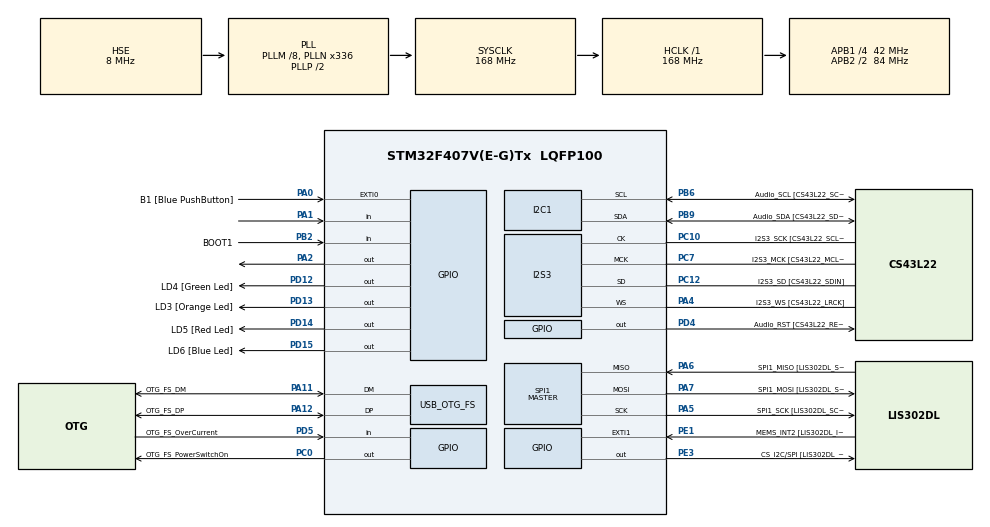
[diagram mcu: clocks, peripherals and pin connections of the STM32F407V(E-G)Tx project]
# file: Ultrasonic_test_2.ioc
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I2S3.AudioFreq-Half_Duplex_Master=I2S_AUDIOFREQ_96K
I2S3.ErrorAudioFreq=-2.34 %
I2S3.ErrorAudioFreq-Half_Duplex_Master=0.8 %
I2S3.FullDuplexMode=I2S_FULLDUPLEXMODE_DISABLE
I2S3.Instance=SPI$Index
I2S3.RealAudioFreq=93.75 KHz
I2S3.RealAudioFreq-Half_Duplex_Master=96.774 KHz
I2S3.VirtualMode=I2S_MODE_MASTER
Mcu.Family=STM32F4
Mcu.Name=STM32F407V(E-G)Tx
Mcu.Package=LQFP100
NVIC.OTG_FS_IRQn=true\:0\:0\:false\:false\:true\:true\:true\:true
NVIC.PriorityGroup=NVIC_PRIORITYGROUP_0
PA0-WKUP.GPIO_Label=B1 [Blue PushButton]
PA0-WKUP.GPIO_ModeDefaultEXTI=GPIO_MODE_EVT_RISING
PA0-WKUP.GPIO_PuPd=GPIO_NOPULL
PA0-WKUP.Signal=GPXTI0
PA1.Signal=GPIO_Input
PA10.GPIO_Label=OTG_FS_ID
PA10.GPIO_Mode=GPIO_MODE_AF_PP
PA10.GPIO_PuPd=GPIO_NOPULL
PA10.GPIO_Speed=GPIO_SPEED_FREQ_LOW
PA10.Signal=USB_OTG_FS_ID
PA11.GPIO_Label=OTG_FS_DM
PA11.GPIO_Mode=GPIO_MODE_AF_PP
PA11.GPIO_PuPd=GPIO_NOPULL
PA11.GPIO_Speed=GPIO_SPEED_FREQ_LOW
PA11.Mode=Device_Only
PA11.Signal=USB_OTG_FS_DM
PA12.GPIO_Label=OTG_FS_DP
PA12.GPIO_Mode=GPIO_MODE_AF_PP
PA12.GPIO_PuPd=GPIO_NOPULL
PA12.GPIO_Speed=GPIO_SPEED_FREQ_LOW
PA12.Mode=Device_Only
PA12.Signal=USB_OTG_FS_DP
PA13.GPIO_Label=SWDIO
PA13.Mode=Serial_Wire
PA13.Signal=SYS_JTMS-SWDIO
PA14.GPIO_Label=SWCLK
PA14.Mode=Serial_Wire
PA14.Signal=SYS_JTCK-SWCLK
PA2.Signal=GPIO_Output
PA4.GPIO_Label=I2S3_WS [CS43L22_LRCK]
PA4.GPIO_Mode=GPIO_MODE_AF_PP
PA4.GPIO_PuPd=GPIO_NOPULL
PA4.GPIO_Speed=GPIO_SPEED_FREQ_LOW
PA4.Mode=Half_Duplex_Master
PA4.Signal=I2S3_WS
PA5.GPIO_Label=SPI1_SCK [LIS302DL_SCL/SPC]
PA5.GPIO_Mode=GPIO_MODE_AF_PP
PA5.GPIO_PuPd=GPIO_NOPULL
PA5.GPIO_Speed=GPIO_SPEED_FREQ_LOW
PA5.Mode=Full_Duplex_Master
PA5.Signal=SPI1_SCK
PA6.GPIO_Label=SPI1_MISO [LIS302DL_SDO]
PA6.GPIO_Mode=GPIO_MODE_AF_PP
PA6.GPIO_PuPd=GPIO_NOPULL
PA6.GPIO_Speed=GPIO_SPEED_FREQ_LOW
PA6.Mode=Full_Duplex_Master
PA6.Signal=SPI1_MISO
PA7.GPIO_Label=SPI1_MOSI [LIS302DL_SDA/SDI/SDO]
PA7.GPIO_Mode=GPIO_MODE_AF_PP
PA7.GPIO_PuPd=GPIO_NOPULL
PA7.GPIO_Speed=GPIO_SPEED_FREQ_LOW
PA7.Mode=Full_Duplex_Master
PA7.Signal=SPI1_MOSI
PA9.GPIO_Label=VBUS_FS
PA9.GPIO_Mode=GPIO_MODE_INPUT
PA9.GPIO_PuPd=GPIO_NOPULL
PA9.Signal=USB_OTG_FS_VBUS
PB10.GPIO_Label=CLK_IN [MP45DT02_CLK]
PB10.GPIO_Mode=GPIO_MODE_AF_PP
PB10.GPIO_PuPd=GPIO_NOPULL
PB10.GPIO_Speed=GPIO_SPEED_FREQ_LOW
PB10.Signal=I2S2_CK
PB2.GPIO_Label=BOOT1
PB2.GPIO_Mode=GPIO_MODE_INPUT
PB2.GPIO_PuPd=GPIO_NOPULL
PB2.Signal=GPIO_Input
PB3.GPIO_Label=SWO
PB3.Signal=SYS_JTDO-SWO
PB6.GPIO_Label=Audio_SCL [CS43L22_SCL]
PB6.GPIO_Mode=GPIO_MODE_AF_OD
PB6.GPIO_Pu=GPIO_PULLUP
PB6.GPIO_PuPd=GPIO_NOPULL
PB6.GPIO_Speed=GPIO_SPEED_FREQ_LOW
PB6.Mode=I2C
PB6.Signal=I2C1_SCL
PB9.GPIO_Label=Audio_SDA [CS43L22_SDA]
PB9.GPIO_Mode=GPIO_MODE_AF_OD
PB9.GPIO_Pu=GPIO_PULLUP
PB9.GPIO_PuPd=GPIO_NOPULL
PB9.GPIO_Speed=GPIO_SPEED_FREQ_LOW
PB9.Mode=I2C
PB9.Signal=I2C1_SDA
PC0.GPIO_Label=OTG_FS_PowerSwitchOn
PC0.GPIO_PuPd=GPIO_NOPULL
PC0.GPIO_Speed=GPIO_SPEED_FREQ_LOW
PC0.PinState=GPIO_PIN_SET
PC0.Signal=GPIO_Output
PC10.GPIO_Label=I2S3_SCK [CS43L22_SCLK]
PC10.GPIO_Mode=GPIO_MODE_AF_PP
PC10.GPIO_PuPd=GPIO_NOPULL
PC10.GPIO_Speed=GPIO_SPEED_FREQ_LOW
PC10.Mode=Half_Duplex_Master
PC10.Signal=I2S3_CK
PC12.GPIO_Label=I2S3_SD [CS43L22_SDIN]
PC12.GPIO_Mode=GPIO_MODE_AF_PP
PC12.GPIO_PuPd=GPIO_NOPULL
PC12.GPIO_Speed=GPIO_SPEED_FREQ_LOW
PC12.Mode=Half_Duplex_Master
PC12.Signal=I2S3_SD
PC14-OSC32_IN.GPIO_Label=PC14-OSC32_IN
PC14-OSC32_IN.Signal=RCC_OSC32_IN
PC15-OSC32_OUT.GPIO_Label=PC15-OSC32_OUT
PC15-OSC32_OUT.Signal=RCC_OSC32_OUT
PC3.GPIO_Label=PDM_OUT [MP45DT02_DOUT]
PC3.GPIO_Mode=GPIO_MODE_AF_PP
PC3.GPIO_PuPd=GPIO_NOPULL
PC3.GPIO_Speed=GPIO_SPEED_FREQ_LOW
PC3.Signal=I2S2_SD
PC7.GPIO_Label=I2S3_MCK [CS43L22_MCLK]
PC7.GPIO_Mode=GPIO_MODE_AF_PP
PC7.GPIO_PuPd=GPIO_NOPULL
PC7.GPIO_Speed=GPIO_SPEED_FREQ_LOW
PC7.Mode=Master_Clock_Activated
PC7.Signal=I2S3_MCK
PD12.GPIO_Label=LD4 [Green Led]
PD12.GPIO_PuPd=GPIO_NOPULL
PD12.GPIO_Speed=GPIO_SPEED_FREQ_LOW
PD12.Signal=GPIO_Output
PD13.GPIO_Label=LD3 [Orange Led]
PD13.GPIO_PuPd=GPIO_NOPULL
PD13.GPIO_Speed=GPIO_SPEED_FREQ_LOW
PD13.Signal=GPIO_Output
PD14.GPIO_Label=LD5 [Red Led]
PD14.GPIO_PuPd=GPIO_NOPULL
PD14.GPIO_Speed=GPIO_SPEED_FREQ_LOW
PD14.Signal=GPIO_Output
PD15.GPIO_Label=LD6 [Blue Led]
PD15.GPIO_PuPd=GPIO_NOPULL
PD15.GPIO_Speed=GPIO_SPEED_FREQ_LOW
PD15.Signal=GPIO_Output
PD4.GPIO_Label=Audio_RST [CS43L22_RESET]
PD4.GPIO_PuPd=GPIO_NOPULL
PD4.GPIO_Speed=GPIO_SPEED_FREQ_LOW
PD4.Signal=GPIO_Output
PD5.GPIO_Label=OTG_FS_OverCurrent
PD5.GPIO_Mode=GPIO_MODE_INPUT
PD5.GPIO_PuPd=GPIO_NOPULL
PD5.Signal=GPIO_Input
PE1.GPIO_Label=MEMS_INT2 [LIS302DL_INT2]
PE1.GPIO_ModeDefaultEXTI=GPIO_MODE_EVT_RISING
PE1.GPIO_PuPd=GPIO_NOPULL
PE1.Signal=GPXTI1
PE3.GPIO_Label=CS_I2C/SPI [LIS302DL_CS_I2C/SPI]
PE3.GPIO_PuPd=GPIO_NOPULL
PE3.GPIO_Speed=GPIO_SPEED_FREQ_LOW
PE3.Signal=GPIO_Output
PH0-OSC_IN.GPIO_Label=PH0-OSC_IN
PH0-OSC_IN.Mode=HSE-External-Oscillator
PH0-OSC_IN.Signal=RCC_OSC_IN
PH1-OSC_OUT.GPIO_Label=PH1-OSC_OUT
PH1-OSC_OUT.Mode=HSE-External-Oscillator
PH1-OSC_OUT.Signal=RCC_OSC_OUT
ProjectManager.HeapSize=0x600
ProjectManager.StackSize=0x400
ProjectManager.TargetToolchain=STM32CubeIDE
RCC.48MHZClocksFreq_Value=48000000
RCC.AHBFreq_Value=168000000
RCC.APB1CLKDivider=RCC_HCLK_DIV4
RCC.APB1Freq_Value=42000000
RCC.APB1TimFreq_Value=84000000
RCC.APB2CLKDivider=RCC_HCLK_DIV2
RCC.APB2Freq_Value=84000000
RCC.APB2TimFreq_Value=168000000
RCC.CortexFreq_Value=168000000
RCC.HCLKFreq_Value=168000000
RCC.HSE_VALUE=8000000
RCC.HSI_VALUE=16000000
RCC.LSE_VALUE=32768
RCC.PLLM=8
RCC.PLLN=336
RCC.PLLQ=7
RCC.SYSCLKFreq_VALUE=168000000
RCC.SYSCLKSource=RCC_SYSCLKSOURCE_PLLCLK
RCC.VCOOutputFreq_Value=336000000
SPI1.BaudRatePrescaler-Full_Duplex_Master=SPI_BAUDRATEPRESCALER_2
SPI1.CalculateBaudRate-Full_Duplex_Master=42.0 MBits/s
SPI1.Direction=SPI_DIRECTION_2LINES
SPI1.Mode=SPI_MODE_MASTER
SPI1.Mode-Full_Duplex_Master=SPI_MODE_MASTER
SPI1.VirtualType=VM_MASTER
TIM1.Prescaler=167
USB_DEVICE.CLASS_NAME_FS=CDC
USB_DEVICE.VirtualMode-CDC_FS=Cdc
USB_DEVICE.VirtualModeFS=Cdc_FS
USB_OTG_FS.VirtualMode=Device_Only
VP_TIM1_VS_ClockSourceINT.Mode=Internal
VP_USB_DEVICE_VS_USB_DEVICE_CDC_FS.Mode=CDC_FS
board=STM32F407G-DISC1

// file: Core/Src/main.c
/* USER CODE BEGIN Header */
/**
  ******************************************************************************
  * @file           : main.c
  * @brief          : Main program body
  ******************************************************************************
  * @attention
  *
  * Copyright (c) 2025 STMicroelectronics.
  * All rights reserved.
  *
  * This software is licensed under terms that can be found in the LICENSE file
  * in the root directory of this software component.
  * If no LICENSE file comes with this software, it is provided AS-IS.
  *
  ******************************************************************************
  */
/* USER CODE END Header */
#include "main.h"
#include "usb_device.h"

/* USER CODE BEGIN Includes */
#include "usbd_cdc_if.h"
#include <stdio.h>
#include <stdint.h>
#include <string.h>
/* USER CODE END Includes */

I2C_HandleTypeDef hi2c1;

I2S_HandleTypeDef hi2s3;

SPI_HandleTypeDef hspi1;

TIM_HandleTypeDef htim1;

/* USER CODE BEGIN PV */
#define TRIG_PIN GPIO_PIN_2
#define TRIG_PORT GPIOA
#define ECHO_PIN GPIO_PIN_1
#define ECHO_PORT GPIOA
uint32_t pMillis;
uint32_t Value1 = 0;
uint32_t Value2 = 0;
uint16_t Distance  = 0;  // cm
/* USER CODE END PV */

void SystemClock_Config(void);
static void MX_GPIO_Init(void);
static void MX_I2C1_Init(void);
static void MX_I2S3_Init(void);
static void MX_SPI1_Init(void);
static void MX_TIM1_Init(void);

int main(void)
{

  /* MCU Configuration--------------------------------------------------------*/

  /* Reset of all peripherals, Initializes the Flash interface and the Systick. */
  HAL_Init();

  /* Configure the system clock */
  SystemClock_Config();

  /* Initialize all configured peripherals */
  MX_GPIO_Init();
  MX_I2C1_Init();
  MX_I2S3_Init();
  MX_SPI1_Init();
  MX_TIM1_Init();
  MX_USB_DEVICE_Init();
  /* USER CODE BEGIN 2 */
  uint32_t i = 0;
  uint8_t str[52];
  HAL_TIM_Base_Start(&htim1);
  HAL_GPIO_WritePin(TRIG_PORT, TRIG_PIN, GPIO_PIN_RESET);  // pull the TRIG pin low
  /* USER CODE END 2 */

  /* Infinite loop */
  /* USER CODE BEGIN WHILE */
  while (1)
   {
     HAL_GPIO_WritePin(TRIG_PORT, TRIG_PIN, GPIO_PIN_SET);  // pull the TRIG pin HIGH
     __HAL_TIM_SET_COUNTER(&htim1, 0);
     while (__HAL_TIM_GET_COUNTER (&htim1) < 40);  // wait for 40 us
     HAL_GPIO_WritePin(TRIG_PORT, TRIG_PIN, GPIO_PIN_RESET);  // pull the TRIG pin low

     pMillis = HAL_GetTick(); // used this to avoid infinite while loop  (for timeout)
     // wait for the echo pin to go high
     while (!(HAL_GPIO_ReadPin (ECHO_PORT, ECHO_PIN)) && pMillis + 100 >  HAL_GetTick());
     Value1 = __HAL_TIM_GET_COUNTER (&htim1);

     pMillis = HAL_GetTick(); // used this to avoid infinite while loop (for timeout)
     // wait for the echo pin to go low
     while ((HAL_GPIO_ReadPin (ECHO_PORT, ECHO_PIN)) && pMillis + 500 > HAL_GetTick());
     Value2 = __HAL_TIM_GET_COUNTER (&htim1);

     Distance = (Value2-Value1) * 0.034/2;

     if(Distance <= 5){
    	 HAL_GPIO_WritePin(GPIOD, GPIO_PIN_12, GPIO_PIN_SET);
     }
     else{
    	 HAL_GPIO_WritePin(GPIOD, GPIO_PIN_12, GPIO_PIN_RESET);
     }

     //if(i % 2 == 0)
    	 sprintf(str, "Distance1: %d\r\n", Value2 - Value1);
     //else
	//	 sprintf(str, "Distance2: %lu\r\n", Value2);

     CDC_Transmit_FS(str, strlen(str));

     i++;

     HAL_Delay(500);
    /* USER CODE END WHILE */

  }
}

void SystemClock_Config(void)
{
  RCC_OscInitTypeDef RCC_OscInitStruct = {0};
  RCC_ClkInitTypeDef RCC_ClkInitStruct = {0};

  /** Configure the main internal regulator output voltage
  */
  __HAL_RCC_PWR_CLK_ENABLE();
  __HAL_PWR_VOLTAGESCALING_CONFIG(PWR_REGULATOR_VOLTAGE_SCALE1);

  /** Initializes the RCC Oscillators according to the specified parameters
  * in the RCC_OscInitTypeDef structure.
  */
  RCC_OscInitStruct.OscillatorType = RCC_OSCILLATORTYPE_HSE;
  RCC_OscInitStruct.HSEState = RCC_HSE_ON;
  RCC_OscInitStruct.PLL.PLLState = RCC_PLL_ON;
  RCC_OscInitStruct.PLL.PLLSource = RCC_PLLSOURCE_HSE;
  RCC_OscInitStruct.PLL.PLLM = 8;
  RCC_OscInitStruct.PLL.PLLN = 336;
  RCC_OscInitStruct.PLL.PLLP = RCC_PLLP_DIV2;
  RCC_OscInitStruct.PLL.PLLQ = 7;
  if (HAL_RCC_OscConfig(&RCC_OscInitStruct) != HAL_OK)
  {
    Error_Handler();
  }

  /** Initializes the CPU, AHB and APB buses clocks
  */
  RCC_ClkInitStruct.ClockType = RCC_CLOCKTYPE_HCLK|RCC_CLOCKTYPE_SYSCLK
                              |RCC_CLOCKTYPE_PCLK1|RCC_CLOCKTYPE_PCLK2;
  RCC_ClkInitStruct.SYSCLKSource = RCC_SYSCLKSOURCE_PLLCLK;
  RCC_ClkInitStruct.AHBCLKDivider = RCC_SYSCLK_DIV1;
  RCC_ClkInitStruct.APB1CLKDivider = RCC_HCLK_DIV4;
  RCC_ClkInitStruct.APB2CLKDivider = RCC_HCLK_DIV2;

  if (HAL_RCC_ClockConfig(&RCC_ClkInitStruct, FLASH_LATENCY_5) != HAL_OK)
  {
    Error_Handler();
  }
}

static void MX_I2C1_Init(void)
{

  hi2c1.Instance = I2C1;
  hi2c1.Init.ClockSpeed = 100000;
  hi2c1.Init.DutyCycle = I2C_DUTYCYCLE_2;
  hi2c1.Init.OwnAddress1 = 0;
  hi2c1.Init.AddressingMode = I2C_ADDRESSINGMODE_7BIT;
  hi2c1.Init.DualAddressMode = I2C_DUALADDRESS_DISABLE;
  hi2c1.Init.OwnAddress2 = 0;
  hi2c1.Init.GeneralCallMode = I2C_GENERALCALL_DISABLE;
  hi2c1.Init.NoStretchMode = I2C_NOSTRETCH_DISABLE;
  if (HAL_I2C_Init(&hi2c1) != HAL_OK)
  {
    Error_Handler();
  }

}

static void MX_I2S3_Init(void)
{

  hi2s3.Instance = SPI3;
  hi2s3.Init.Mode = I2S_MODE_MASTER_TX;
  hi2s3.Init.Standard = I2S_STANDARD_PHILIPS;
  hi2s3.Init.DataFormat = I2S_DATAFORMAT_16B;
  hi2s3.Init.MCLKOutput = I2S_MCLKOUTPUT_ENABLE;
  hi2s3.Init.AudioFreq = I2S_AUDIOFREQ_96K;
  hi2s3.Init.CPOL = I2S_CPOL_LOW;
  hi2s3.Init.ClockSource = I2S_CLOCK_PLL;
  hi2s3.Init.FullDuplexMode = I2S_FULLDUPLEXMODE_DISABLE;
  if (HAL_I2S_Init(&hi2s3) != HAL_OK)
  {
    Error_Handler();
  }

}

static void MX_SPI1_Init(void)
{

  /* SPI1 parameter configuration*/
  hspi1.Instance = SPI1;
  hspi1.Init.Mode = SPI_MODE_MASTER;
  hspi1.Init.Direction = SPI_DIRECTION_2LINES;
  hspi1.Init.DataSize = SPI_DATASIZE_8BIT;
  hspi1.Init.CLKPolarity = SPI_POLARITY_LOW;
  hspi1.Init.CLKPhase = SPI_PHASE_1EDGE;
  hspi1.Init.NSS = SPI_NSS_SOFT;
  hspi1.Init.BaudRatePrescaler = SPI_BAUDRATEPRESCALER_2;
  hspi1.Init.FirstBit = SPI_FIRSTBIT_MSB;
  hspi1.Init.TIMode = SPI_TIMODE_DISABLE;
  hspi1.Init.CRCCalculation = SPI_CRCCALCULATION_DISABLE;
  hspi1.Init.CRCPolynomial = 10;
  if (HAL_SPI_Init(&hspi1) != HAL_OK)
  {
    Error_Handler();
  }

}

static void MX_TIM1_Init(void)
{

  TIM_ClockConfigTypeDef sClockSourceConfig = {0};
  TIM_MasterConfigTypeDef sMasterConfig = {0};

  htim1.Instance = TIM1;
  htim1.Init.Prescaler = 167;
  htim1.Init.CounterMode = TIM_COUNTERMODE_UP;
  htim1.Init.Period = 65535;
  htim1.Init.ClockDivision = TIM_CLOCKDIVISION_DIV1;
  htim1.Init.RepetitionCounter = 0;
  htim1.Init.AutoReloadPreload = TIM_AUTORELOAD_PRELOAD_DISABLE;
  if (HAL_TIM_Base_Init(&htim1) != HAL_OK)
  {
    Error_Handler();
  }
  sClockSourceConfig.ClockSource = TIM_CLOCKSOURCE_INTERNAL;
  if (HAL_TIM_ConfigClockSource(&htim1, &sClockSourceConfig) != HAL_OK)
  {
    Error_Handler();
  }
  sMasterConfig.MasterOutputTrigger = TIM_TRGO_RESET;
  sMasterConfig.MasterSlaveMode = TIM_MASTERSLAVEMODE_DISABLE;
  if (HAL_TIMEx_MasterConfigSynchronization(&htim1, &sMasterConfig) != HAL_OK)
  {
    Error_Handler();
  }

}

static void MX_GPIO_Init(void)
{
  GPIO_InitTypeDef GPIO_InitStruct = {0};

  /* GPIO Ports Clock Enable */
  __HAL_RCC_GPIOE_CLK_ENABLE();
  __HAL_RCC_GPIOC_CLK_ENABLE();
  __HAL_RCC_GPIOH_CLK_ENABLE();
  __HAL_RCC_GPIOA_CLK_ENABLE();
  __HAL_RCC_GPIOB_CLK_ENABLE();
  __HAL_RCC_GPIOD_CLK_ENABLE();

  /*Configure GPIO pin Output Level */
  HAL_GPIO_WritePin(CS_I2C_SPI_GPIO_Port, CS_I2C_SPI_Pin, GPIO_PIN_RESET);

  /*Configure GPIO pin Output Level */
  HAL_GPIO_WritePin(OTG_FS_PowerSwitchOn_GPIO_Port, OTG_FS_PowerSwitchOn_Pin, GPIO_PIN_SET);

  /*Configure GPIO pin Output Level */
  HAL_GPIO_WritePin(GPIOA, GPIO_PIN_2, GPIO_PIN_RESET);

  /*Configure GPIO pin Output Level */
  HAL_GPIO_WritePin(GPIOD, LD4_Pin|LD3_Pin|LD5_Pin|LD6_Pin
                          |Audio_RST_Pin, GPIO_PIN_RESET);

  /*Configure GPIO pin : CS_I2C_SPI_Pin */
  GPIO_InitStruct.Pin = CS_I2C_SPI_Pin;
  GPIO_InitStruct.Mode = GPIO_MODE_OUTPUT_PP;
  GPIO_InitStruct.Pull = GPIO_NOPULL;
  GPIO_InitStruct.Speed = GPIO_SPEED_FREQ_LOW;
  HAL_GPIO_Init(CS_I2C_SPI_GPIO_Port, &GPIO_InitStruct);

  /*Configure GPIO pin : OTG_FS_PowerSwitchOn_Pin */
  GPIO_InitStruct.Pin = OTG_FS_PowerSwitchOn_Pin;
  GPIO_InitStruct.Mode = GPIO_MODE_OUTPUT_PP;
  GPIO_InitStruct.Pull = GPIO_NOPULL;
  GPIO_InitStruct.Speed = GPIO_SPEED_FREQ_LOW;
  HAL_GPIO_Init(OTG_FS_PowerSwitchOn_GPIO_Port, &GPIO_InitStruct);

  /*Configure GPIO pin : PDM_OUT_Pin */
  GPIO_InitStruct.Pin = PDM_OUT_Pin;
  GPIO_InitStruct.Mode = GPIO_MODE_AF_PP;
  GPIO_InitStruct.Pull = GPIO_NOPULL;
  GPIO_InitStruct.Speed = GPIO_SPEED_FREQ_LOW;
  GPIO_InitStruct.Alternate = GPIO_AF5_SPI2;
  HAL_GPIO_Init(PDM_OUT_GPIO_Port, &GPIO_InitStruct);

  /*Configure GPIO pin : B1_Pin */
  GPIO_InitStruct.Pin = B1_Pin;
  GPIO_InitStruct.Mode = GPIO_MODE_EVT_RISING;
  GPIO_InitStruct.Pull = GPIO_NOPULL;
  HAL_GPIO_Init(B1_GPIO_Port, &GPIO_InitStruct);

  /*Configure GPIO pin : PA1 */
  GPIO_InitStruct.Pin = GPIO_PIN_1;
  GPIO_InitStruct.Mode = GPIO_MODE_INPUT;
  GPIO_InitStruct.Pull = GPIO_NOPULL;
  HAL_GPIO_Init(GPIOA, &GPIO_InitStruct);

  /*Configure GPIO pin : PA2 */
  GPIO_InitStruct.Pin = GPIO_PIN_2;
  GPIO_InitStruct.Mode = GPIO_MODE_OUTPUT_PP;
  GPIO_InitStruct.Pull = GPIO_NOPULL;
  GPIO_InitStruct.Speed = GPIO_SPEED_FREQ_LOW;
  HAL_GPIO_Init(GPIOA, &GPIO_InitStruct);

  /*Configure GPIO pin : BOOT1_Pin */
  GPIO_InitStruct.Pin = BOOT1_Pin;
  GPIO_InitStruct.Mode = GPIO_MODE_INPUT;
  GPIO_InitStruct.Pull = GPIO_NOPULL;
  HAL_GPIO_Init(BOOT1_GPIO_Port, &GPIO_InitStruct);

  /*Configure GPIO pin : CLK_IN_Pin */
  GPIO_InitStruct.Pin = CLK_IN_Pin;
  GPIO_InitStruct.Mode = GPIO_MODE_AF_PP;
  GPIO_InitStruct.Pull = GPIO_NOPULL;
  GPIO_InitStruct.Speed = GPIO_SPEED_FREQ_LOW;
  GPIO_InitStruct.Alternate = GPIO_AF5_SPI2;
  HAL_GPIO_Init(CLK_IN_GPIO_Port, &GPIO_InitStruct);

  /*Configure GPIO pins : LD4_Pin LD3_Pin LD5_Pin LD6_Pin
                           Audio_RST_Pin */
  GPIO_InitStruct.Pin = LD4_Pin|LD3_Pin|LD5_Pin|LD6_Pin
                          |Audio_RST_Pin;
  GPIO_InitStruct.Mode = GPIO_MODE_OUTPUT_PP;
  GPIO_InitStruct.Pull = GPIO_NOPULL;
  GPIO_InitStruct.Speed = GPIO_SPEED_FREQ_LOW;
  HAL_GPIO_Init(GPIOD, &GPIO_InitStruct);

  /*Configure GPIO pin : OTG_FS_OverCurrent_Pin */
  GPIO_InitStruct.Pin = OTG_FS_OverCurrent_Pin;
  GPIO_InitStruct.Mode = GPIO_MODE_INPUT;
  GPIO_InitStruct.Pull = GPIO_NOPULL;
  HAL_GPIO_Init(OTG_FS_OverCurrent_GPIO_Port, &GPIO_InitStruct);

  /*Configure GPIO pin : MEMS_INT2_Pin */
  GPIO_InitStruct.Pin = MEMS_INT2_Pin;
  GPIO_InitStruct.Mode = GPIO_MODE_EVT_RISING;
  GPIO_InitStruct.Pull = GPIO_NOPULL;
  HAL_GPIO_Init(MEMS_INT2_GPIO_Port, &GPIO_InitStruct);

}

void Error_Handler(void)
{
  __disable_irq();
  while (1)
  {
  }
}
